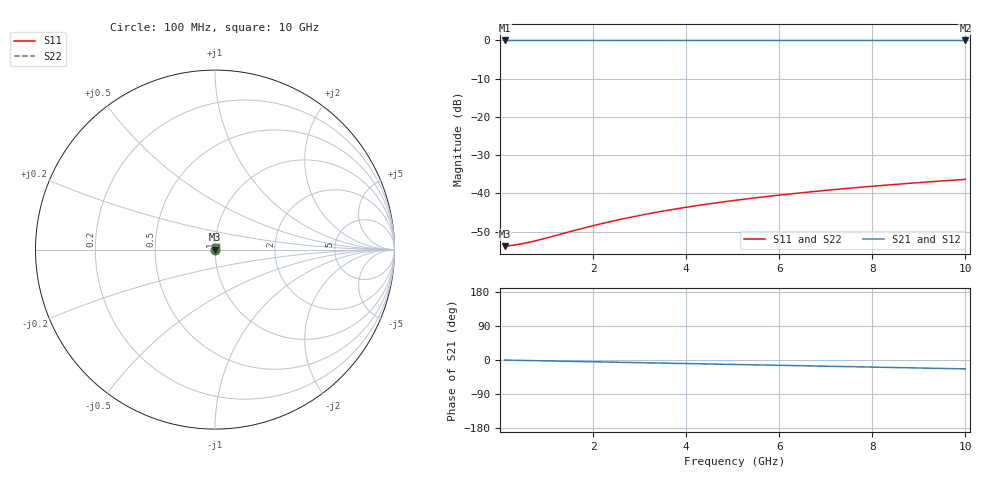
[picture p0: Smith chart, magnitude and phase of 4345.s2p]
# Hz S RI R 50.00
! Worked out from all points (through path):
!   100 points, 100 MHz to 10 GHz, reference 50 ohm
!   highest |S21| = -0.02 dB at 100 MHz (marker M1); lowest = 0.0 dB at 10 GHz (marker M2)
!   group delay of S21, straight-line fit = 6.51 ps
!   lowest |S11| = -53.8 dB at 100 MHz (marker M3), VSWR 1.00, Z = 50.2 + j0.015 ohm
!   |S11| at or under -10 dB: start of sweep to end of sweep
!   |S22| runs from -53.8 to -36.3 dB; largest |S21 - S12| = 0
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1e8  0.00204 0.00015  0.9979 -0.00406  0.9979 -0.00406  0.00204 0.00015
3e8  0.00206 0.000449  0.9979 -0.0122  0.9979 -0.0122  0.00206 0.000449
4e8  0.00207 0.000598  0.9978 -0.0163  0.9978 -0.0163  0.00207 0.000598
5e8  0.00209 0.000747  0.9977 -0.0203  0.9977 -0.0203  0.00209 0.000747
7e8  0.00211 0.00105  0.9975 -0.0284  0.9975 -0.0284  0.00211 0.00105
1e9  0.00215 0.00149  0.997 -0.0406  0.997 -0.0406  0.00215 0.00149
1.8e9  0.0023 0.00267  0.9951 -0.0731  0.9951 -0.0731  0.0023 0.00267
2.2e9  0.00241 0.00326  0.9938 -0.0893  0.9938 -0.0893  0.00241 0.00326
2.6e9  0.00253 0.00383  0.9922 -0.1055  0.9922 -0.1055  0.00253 0.00383
3e9  0.00267 0.00441  0.9903 -0.1217  0.9903 -0.1217  0.00267 0.00441
3.4e9  0.00283 0.00498  0.9882 -0.1378  0.9882 -0.1378  0.00283 0.00498
3.8e9  0.003 0.00554  0.9858 -0.1539  0.9858 -0.1539  0.003 0.00554
4.2e9  0.0032 0.00609  0.9831 -0.17  0.9831 -0.17  0.0032 0.00609
4.6e9  0.00341 0.00664  0.9802 -0.1861  0.9802 -0.1861  0.00341 0.00664
5.1e9  0.0037 0.00731  0.9761 -0.2061  0.9761 -0.2061  0.0037 0.00731
5.5e9  0.00395 0.00783  0.9726 -0.222  0.9726 -0.222  0.00395 0.00783
5.9e9  0.00422 0.00835  0.9688 -0.2379  0.9688 -0.2379  0.00422 0.00835
6.7e9  0.00482 0.00936  0.9605 -0.2695  0.9605 -0.2695  0.00482 0.00936
7.5e9  0.00547 0.0103  0.9511 -0.3008  0.9511 -0.3008  0.00547 0.0103
8.4e9  0.00629 0.0114  0.9392 -0.3358  0.9392 -0.3358  0.00629 0.0114
9.2e9  0.00708 0.0122  0.9276 -0.3665  0.9276 -0.3665  0.00708 0.0122
1e10  0.00793 0.013  0.915 -0.3968  0.915 -0.3968  0.00793 0.013
